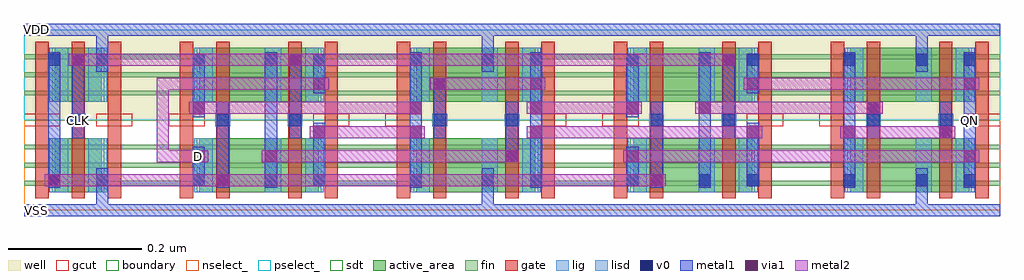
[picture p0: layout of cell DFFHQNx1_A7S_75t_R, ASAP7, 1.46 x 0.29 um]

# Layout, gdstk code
import gdstk
lib = gdstk.Library(unit=1e-6, precision=2.5e-10)
def R(c, l, rs):  # rectangles x0, y0, x1, y1
    for r in rs: c.add(gdstk.rectangle(r[:2], r[2:], *l))
def A(c, l, x, y, w, h, nx, ny, dx, dy):  # array of equal rectangles
    R(c, l, [(x+i*dx, y+j*dy, x+i*dx+w, y+j*dy+h) for i in range(nx) for j in range(ny)])
well = (1, 0)
fin = (2, 0)
gate = (7, 0)
gcut = (10, 0)
active_area = (11, 0)
nselect_ = (12, 0)
pselect_ = (13, 0)
lig = (16, 0)
lisd = (17, 0)
v0 = (18, 0)
metal1 = (19, 0)
metal2 = (20, 0)
via1 = (21, 0)
sdt = (88, 0)
boundary = (100, 0)

dffhqnx1_a7s_75t_r = lib.new_cell('DFFHQNx1_A7S_75t_R')
R(dffhqnx1_a7s_75t_r, well, [(0,0.135,1.458,0.27)])
A(dffhqnx1_a7s_75t_r, fin, 0, 0.037, 1.458, 0.007, 1, 3, 0, 0.027)
A(dffhqnx1_a7s_75t_r, fin, 0, 0.172, 1.458, 0.007, 1, 3, 0, 0.027)
A(dffhqnx1_a7s_75t_r, gate, 0.017, 0.018, 0.02, 0.234, 3, 1, 0.054, 0)
R(dffhqnx1_a7s_75t_r, gate, [(0.233,0.018,0.253,0.252), (0.287,0.018,0.307,0.252), (0.395,0.018,0.415,0.252), (0.449,0.018,0.469,0.252), (0.557,0.018,0.577,0.252), (0.611,0.018,0.631,0.252), (0.719,0.018,0.739,0.252), (0.773,0.018,0.793,0.252), (0.881,0.018,0.901,0.252), (0.935,0.018,0.955,0.252), (1.043,0.018,1.063,0.252), (1.097,0.018,1.117,0.252), (1.205,0.018,1.225,0.252), (1.259,0.018,1.279,0.252), (1.367,0.018,1.387,0.252), (1.421,0.018,1.441,0.252)])
A(dffhqnx1_a7s_75t_r, gcut, 0, 0.126, 0.054, 0.018, 3, 1, 0.108, 0)
R(dffhqnx1_a7s_75t_r, gcut, [(0.432,0.126,0.486,0.144), (0.54,0.126,0.594,0.144), (0.756,0.126,0.81,0.144), (0.864,0.126,0.918,0.144), (1.08,0.126,1.134,0.144), (1.188,0.126,1.242,0.144), (1.404,0.126,1.458,0.144)])
A(dffhqnx1_a7s_75t_r, active_area, 0.262, 0.027, 0.178, 0.081, 4, 2, 0.324, 0.135)
R(dffhqnx1_a7s_75t_r, active_area, [(0.046,0.027,0.116,0.108), (0.046,0.162,0.116,0.243)])
R(dffhqnx1_a7s_75t_r, nselect_, [(0,0,1.458,0.135)])
R(dffhqnx1_a7s_75t_r, pselect_, [(0,0.135,1.458,0.27)])
R(dffhqnx1_a7s_75t_r, lig, [(0.07,0.126,0.092,0.144), (0.286,0.126,0.308,0.144), (0.394,0.126,0.416,0.144), (0.61,0.126,0.632,0.144), (0.718,0.126,0.74,0.144), (0.934,0.126,0.956,0.144), (1.042,0.126,1.064,0.144), (1.258,0.126,1.28,0.144), (1.366,0.126,1.388,0.144)])
A(dffhqnx1_a7s_75t_r, lisd, 0.36, 0.027, 0.024, 0.081, 4, 2, 0.324, 0.135)
R(dffhqnx1_a7s_75t_r, lisd, [(0.038,0.027,0.066,0.108), (0.096,0.027,0.124,0.108), (0.254,0.027,0.282,0.108), (0.42,0.027,0.448,0.108), (0.578,0.027,0.606,0.108), (0.744,0.027,0.772,0.108), (0.902,0.027,0.93,0.108), (1.068,0.027,1.096,0.108), (1.226,0.027,1.254,0.108), (1.392,0.027,1.42,0.108), (0.038,0.162,0.066,0.243), (0.096,0.162,0.124,0.243), (0.254,0.162,0.282,0.243), (0.42,0.162,0.448,0.243), (0.578,0.162,0.606,0.243), (0.744,0.162,0.772,0.243), (0.902,0.162,0.93,0.243), (1.068,0.162,1.096,0.243), (1.226,0.162,1.254,0.243), (1.392,0.162,1.42,0.243)])
R(dffhqnx1_a7s_75t_r, v0, [(0.036,0.036,0.054,0.054), (0.108,0.036,0.126,0.054), (0.252,0.036,0.27,0.054), (0.36,0.036,0.378,0.054), (0.432,0.036,0.45,0.054), (0.576,0.036,0.594,0.054), (0.684,0.036,0.702,0.054), (0.756,0.036,0.774,0.054), (0.9,0.036,0.918,0.054), (1.008,0.036,1.026,0.054), (1.08,0.036,1.098,0.054), (1.224,0.036,1.242,0.054), (1.332,0.036,1.35,0.054), (1.404,0.036,1.422,0.054), (0.072,0.126,0.09,0.144), (0.288,0.126,0.306,0.144), (0.396,0.126,0.414,0.144), (0.612,0.126,0.63,0.144), (0.72,0.126,0.738,0.144), (0.936,0.126,0.954,0.144), (1.044,0.126,1.062,0.144), (1.26,0.126,1.278,0.144), (1.368,0.126,1.386,0.144), (0.036,0.216,0.054,0.234), (0.108,0.216,0.126,0.234), (0.252,0.216,0.27,0.234), (0.36,0.216,0.378,0.234), (0.432,0.216,0.45,0.234), (0.576,0.216,0.594,0.234), (0.684,0.216,0.702,0.234), (0.756,0.216,0.774,0.234), (0.9,0.216,0.918,0.234), (1.008,0.216,1.026,0.234), (1.08,0.216,1.098,0.234), (1.224,0.216,1.242,0.234), (1.332,0.216,1.35,0.234), (1.404,0.216,1.422,0.234)])
R(dffhqnx1_a7s_75t_r, metal1, [(0,-0.009,1.458,0.009), (0.108,0.009,0.126,0.063), (0.684,0.009,0.702,0.063), (1.332,0.009,1.35,0.063), (0.036,0.034,0.054,0.236), (0.288,0.034,0.306,0.108), (0.36,0.034,0.378,0.236), (0.576,0.034,0.594,0.236), (0.756,0.034,0.774,0.236), (0.936,0.034,0.954,0.108), (1.008,0.034,1.026,0.236), (1.224,0.034,1.242,0.236), (1.404,0.034,1.422,0.236), (0.252,0.036,0.27,0.095), (0.432,0.036,0.45,0.131), (0.9,0.036,0.918,0.095), (1.08,0.036,1.098,0.131), (0.72,0.072,0.738,0.108), (0.072,0.108,0.09,0.162), (0.288,0.108,0.306,0.162), (0.396,0.108,0.414,0.162), (0.612,0.108,0.63,0.162), (0.72,0.108,0.738,0.162), (0.936,0.108,0.954,0.162), (1.044,0.108,1.062,0.162), (1.26,0.108,1.278,0.162), (1.368,0.108,1.386,0.162), (0.252,0.139,0.27,0.234), (0.9,0.139,0.918,0.234), (0.072,0.162,0.09,0.234), (0.396,0.162,0.414,0.234), (0.612,0.162,0.63,0.198), (1.044,0.162,1.062,0.234), (0.432,0.175,0.45,0.234), (1.08,0.175,1.098,0.234), (0.108,0.207,0.126,0.261), (0.684,0.207,0.702,0.261), (1.332,0.207,1.35,0.261), (0,0.261,1.458,0.279)])
R(dffhqnx1_a7s_75t_r, metal2, [(0.031,0.036,0.959,0.054), (0.198,0.072,0.275,0.09), (0.198,0.072,0.216,0.198), (0.355,0.072,0.738,0.09), (0.895,0.072,1.427,0.09), (0.427,0.108,0.599,0.126), (0.751,0.108,1.103,0.126), (1.219,0.108,1.391,0.126), (0.247,0.144,0.594,0.162), (0.751,0.144,0.923,0.162), (1.003,0.144,1.283,0.162), (0.198,0.18,0.455,0.198), (0.607,0.18,0.779,0.198), (1.075,0.18,1.427,0.198), (0.067,0.216,1.062,0.234)])
A(dffhqnx1_a7s_75t_r, via1, 1.08, 0.108, 0.018, 0.018, 3, 1, 0.144, 0)
A(dffhqnx1_a7s_75t_r, via1, 0.756, 0.18, 0.018, 0.018, 3, 1, 0.324, 0)
R(dffhqnx1_a7s_75t_r, via1, [(0.036,0.036,0.054,0.054), (0.288,0.036,0.306,0.054), (0.936,0.036,0.954,0.054), (0.252,0.072,0.27,0.09), (0.36,0.072,0.378,0.09), (0.72,0.072,0.738,0.09), (0.9,0.072,0.918,0.09), (1.404,0.072,1.422,0.09), (0.432,0.108,0.45,0.126), (0.576,0.108,0.594,0.126), (0.756,0.108,0.774,0.126), (0.252,0.144,0.27,0.162), (0.576,0.144,0.594,0.162), (0.756,0.144,0.774,0.162), (0.9,0.144,0.918,0.162), (1.008,0.144,1.026,0.162), (1.26,0.144,1.278,0.162), (0.432,0.18,0.45,0.198), (0.612,0.18,0.63,0.198), (0.072,0.216,0.09,0.234), (0.396,0.216,0.414,0.234), (1.044,0.216,1.062,0.234)])
R(dffhqnx1_a7s_75t_r, sdt, [(0.042,0.027,0.066,0.108), (0.096,0.027,0.12,0.108), (0.258,0.027,0.282,0.108), (0.36,0.027,0.384,0.108), (0.42,0.027,0.444,0.108), (0.582,0.027,0.606,0.108), (0.684,0.027,0.708,0.108), (0.744,0.027,0.768,0.108), (0.906,0.027,0.93,0.108), (1.008,0.027,1.032,0.108), (1.068,0.027,1.092,0.108), (1.23,0.027,1.254,0.108), (1.332,0.027,1.356,0.108), (1.392,0.027,1.416,0.108), (0.042,0.162,0.066,0.243), (0.096,0.162,0.12,0.243), (0.258,0.162,0.282,0.243), (0.36,0.162,0.384,0.243), (0.42,0.162,0.444,0.243), (0.582,0.162,0.606,0.243), (0.684,0.162,0.708,0.243), (0.744,0.162,0.768,0.243), (0.906,0.162,0.93,0.243), (1.008,0.162,1.032,0.243), (1.068,0.162,1.092,0.243), (1.23,0.162,1.254,0.243), (1.332,0.162,1.356,0.243), (1.392,0.162,1.416,0.243)])
R(dffhqnx1_a7s_75t_r, boundary, [(0,0,1.458,0.27)])
dffhqnx1_a7s_75t_r.add(gdstk.Label('VSS', (0.018,0), layer=19, texttype=251))
dffhqnx1_a7s_75t_r.add(gdstk.Label('VDD', (0.018,0.27), layer=19, texttype=251))
dffhqnx1_a7s_75t_r.add(gdstk.Label('CLK', (0.081,0.135), layer=19, texttype=251))
dffhqnx1_a7s_75t_r.add(gdstk.Label('D', (0.261,0.08), layer=19, texttype=251))
dffhqnx1_a7s_75t_r.add(gdstk.Label('QN', (1.413,0.135), layer=19, texttype=251))

lib.write_gds('DFFHQNx1_A7S_75t_R.gds')
